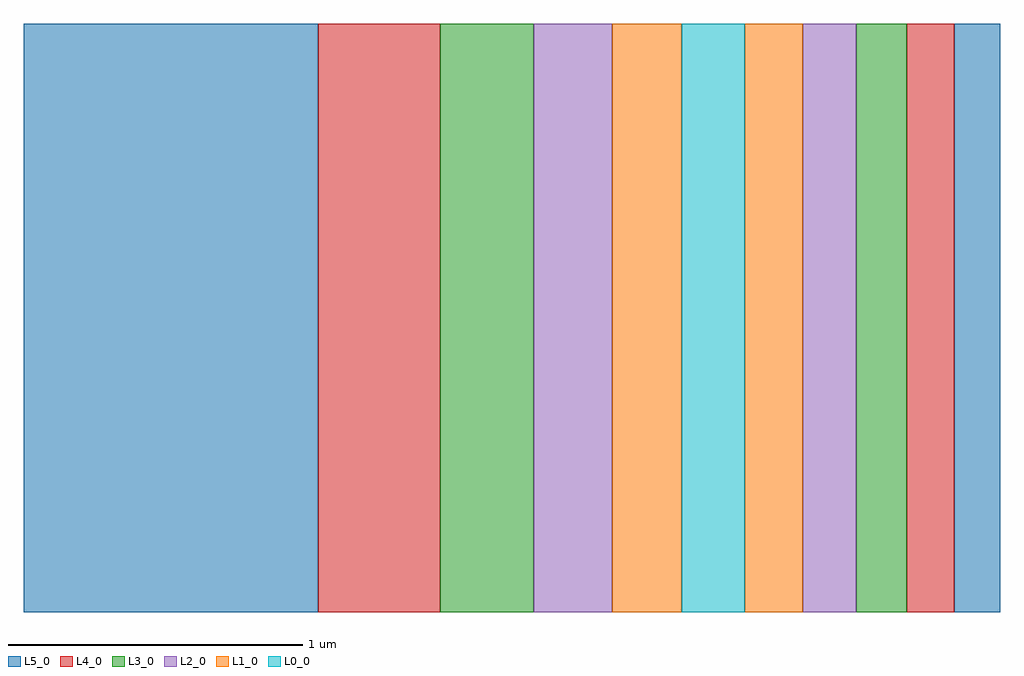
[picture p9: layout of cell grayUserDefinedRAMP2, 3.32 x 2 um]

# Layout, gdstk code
import gdstk
lib = gdstk.Library(unit=1e-6, precision=1e-09)
def R(c, l, rs):  # rectangles x0, y0, x1, y1
    for r in rs: c.add(gdstk.rectangle(r[:2], r[2:], *l))
L0_0 = (0, 0)
L1_0 = (1, 0)
L2_0 = (2, 0)
L3_0 = (3, 0)
L4_0 = (4, 0)
L5_0 = (5, 0)

grayuserdefinedramp2 = lib.new_cell('grayUserDefinedRAMP2')
R(grayuserdefinedramp2, L0_0, [(2.236,0,2.449,2)])
R(grayuserdefinedramp2, L1_0, [(2,0,2.236,2), (2.449,0,2.646,2)])
R(grayuserdefinedramp2, L2_0, [(1.732,0,2,2), (2.646,0,2.828,2)])
R(grayuserdefinedramp2, L3_0, [(1.414,0,1.732,2), (2.828,0,3,2)])
R(grayuserdefinedramp2, L4_0, [(1,0,1.414,2), (3,0,3.162,2)])
R(grayuserdefinedramp2, L5_0, [(0,0,1,2), (3.162,0,3.317,2)])

lib.write_gds('grayUserDefinedRAMP2.gds')
